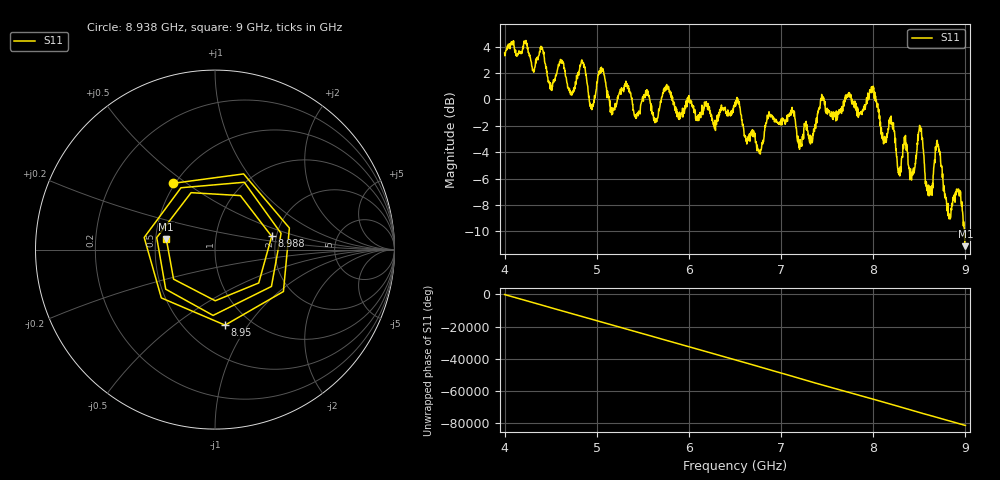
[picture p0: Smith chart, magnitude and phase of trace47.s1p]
! Created with skrf 1.8.0 (http://scikit-rf.org).
# Hz S RI R 50.0
!freq ReS11 ImS11
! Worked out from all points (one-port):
!   1601 points, 4 GHz to 9 GHz, reference 50 ohm
!   lowest |S11| = -11.1 dB at 9 GHz (marker M1), VSWR 1.77, Z = 28.5 + j3.64 ohm
!   |S11| at or under -10 dB: 8.989337 GHz to end of sweep
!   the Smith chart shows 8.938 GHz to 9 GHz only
!   S11 on the Smith chart (normalised r, x): 8.938 GHz: 0.49, +0.44; 8.95 GHz: 0.77, -0.79; 8.988 GHz: 1.89, +0.31; 9 GHz: 0.57, +0.07
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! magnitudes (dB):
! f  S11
! 4 GHz  3.5
! 4.625 GHz  3.0
! 4.722 GHz  0.6
! 4.85 GHz  2.8
! 4.944 GHz  -0.5
! 5.05 GHz  2.4
! 5.162 GHz  -1.2
! 5.25 GHz  0.6
! 5.875 GHz  -1.2
! 6.5 GHz  -0.4
! 6.762 GHz  -4.0
! 7.125 GHz  -0.9
! 7.2 GHz  -3.8
! 7.75 GHz  0.1
! 7.991 GHz  0.8
! 8.116 GHz  -3.0
! 8.206 GHz  -1.8
! 8.278 GHz  -5.7
! 8.375 GHz  -4.0
! 8.434 GHz  -5.3
! 8.509 GHz  -2.1
! 8.597 GHz  -7.3
! 8.697 GHz  -3.3
! 8.819 GHz  -8.7
! 8.938 GHz  -7.2
! 8.95 GHz  -7.4
! 8.988 GHz  -9.8
! 9 GHz  -11.1
